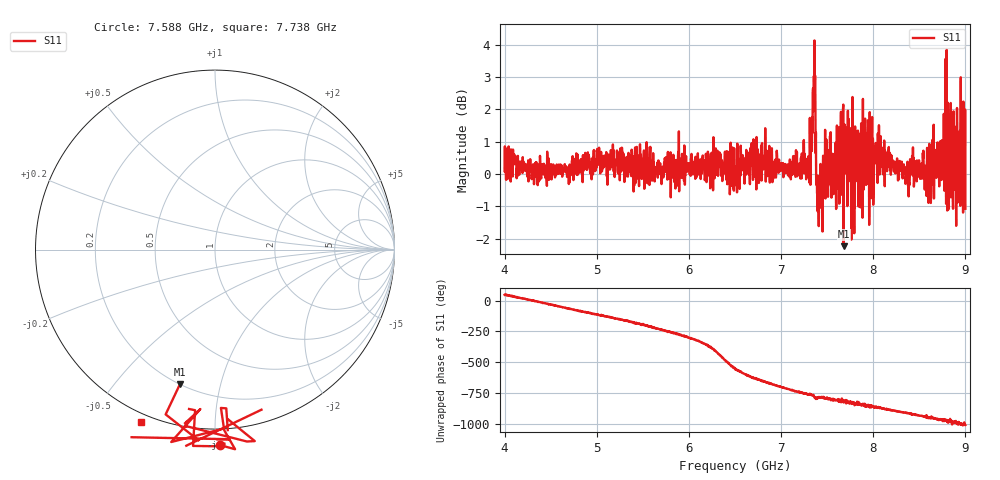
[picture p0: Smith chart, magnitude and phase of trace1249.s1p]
! Created with skrf 1.8.0 (http://scikit-rf.org).
# Hz S RI R 50.0
!freq ReS11 ImS11
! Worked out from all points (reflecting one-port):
!   1601 points, 4 GHz to 9 GHz, reference 50 ohm
!   lowest |S11| = -2.2 dB at 7.678 GHz (marker M1), VSWR 7.82, Z = 10.1 - j37.7 ohm
!   phase of S11 starts at 47 deg and turns -1056 deg over the sweep
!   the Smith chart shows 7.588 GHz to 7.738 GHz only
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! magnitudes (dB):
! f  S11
! 4 GHz  0.1
! 4.625 GHz  -0.1
! 5.25 GHz  -0.2
! 5.875 GHz  -0.1
! 6.331 GHz  0.7
! 6.5 GHz  -0.1
! 6.691 GHz  0.4
! 7.125 GHz  0.3
! 7.294 GHz  -0.1
! 7.316 GHz  0.6
! 7.347 GHz  2.6
! 7.369 GHz  3.0
! 7.397 GHz  -1.2
! 7.409 GHz  -1.6
! 7.478 GHz  1.4
! 7.619 GHz  0.7
! 7.678 GHz  -2.2
! 7.75 GHz  1.4
! 7.784 GHz  -0.5
! 7.834 GHz  1.3
! 8.075 GHz  0.5
! 8.375 GHz  -0.2
! 8.425 GHz  0.4
! 8.625 GHz  -0.9
! 8.809 GHz  2.2
! 8.9 GHz  -1.6
! 8.972 GHz  0.9
! 9 GHz  -1.1
